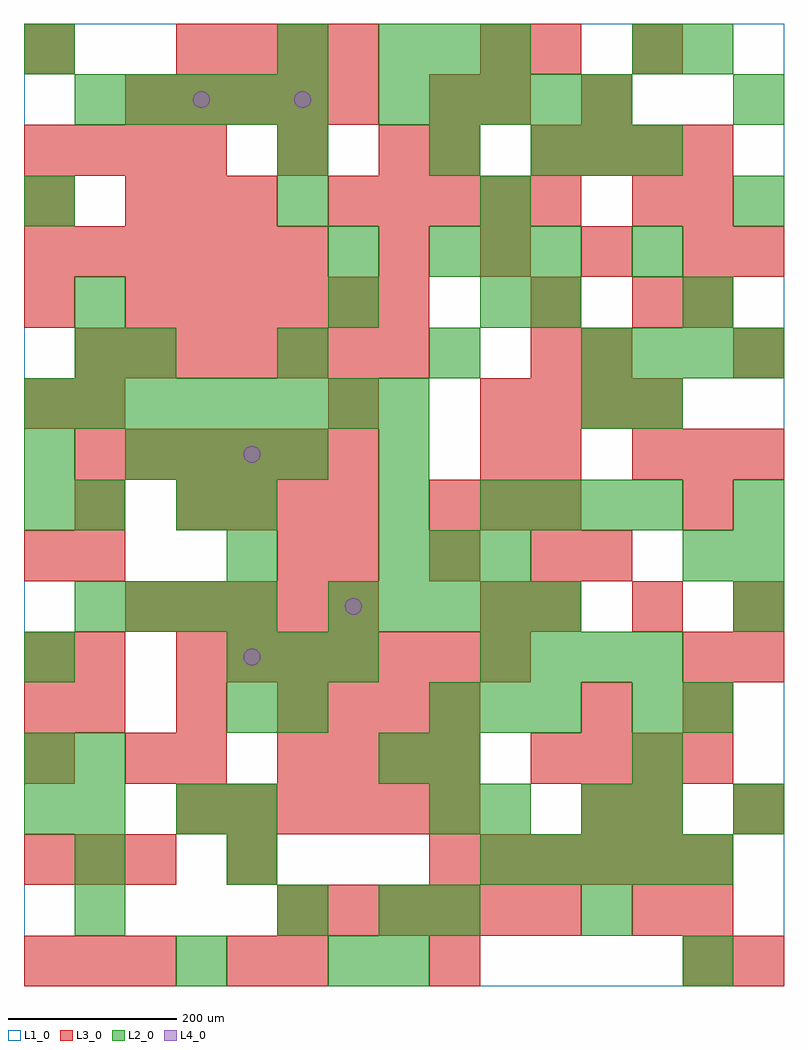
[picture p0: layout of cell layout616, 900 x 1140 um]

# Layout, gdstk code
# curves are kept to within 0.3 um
import gdstk
lib = gdstk.Library(unit=1e-6, precision=1e-09)
def R(c, l, rs):  # rectangles x0, y0, x1, y1
    for r in rs: c.add(gdstk.rectangle(r[:2], r[2:], *l))
def A(c, l, x, y, w, h, nx, ny, dx, dy):  # array of equal rectangles
    R(c, l, [(x+i*dx, y+j*dy, x+i*dx+w, y+j*dy+h) for i in range(nx) for j in range(ny)])
def P(c, l, *ps):  # polygons
    for p in ps: c.add(gdstk.Polygon(p, *l))
L1_0 = (1, 0)
L2_0 = (2, 0)
L3_0 = (3, 0)
L4_0 = (4, 0)

layout616 = lib.new_cell('layout616')
R(layout616, L1_0, [(0,0,900,1140)])
A(layout616, L2_0, 60, 60, 60, 60, 1, 4, 0, 60)
A(layout616, L2_0, 540, 120, 60, 60, 5, 1, 60, 0)
A(layout616, L2_0, 720, 180, 60, 60, 1, 3, 0, 60)
A(layout616, L2_0, 480, 300, 60, 60, 3, 2, 60, 540)
A(layout616, L2_0, 240, 360, 60, 60, 3, 1, 60, 0)
A(layout616, L2_0, 540, 360, 60, 60, 4, 2, 60, 180)
A(layout616, L2_0, 60, 420, 60, 60, 4, 1, 60, 0)
A(layout616, L2_0, 360, 420, 60, 60, 5, 1, 60, 0)
A(layout616, L2_0, 840, 420, 60, 60, 1, 3, 0, 60)
A(layout616, L2_0, 420, 480, 60, 60, 3, 2, 60, 600)
A(layout616, L2_0, 780, 480, 60, 60, 1, 3, 0, 300)
A(layout616, L2_0, 120, 600, 60, 60, 4, 1, 60, 0)
A(layout616, L2_0, 0, 660, 60, 60, 8, 1, 60, 0)
A(layout616, L2_0, 120, 720, 60, 60, 4, 1, 180, 0)
A(layout616, L2_0, 720, 720, 60, 60, 3, 1, 60, 0)
A(layout616, L2_0, 600, 960, 60, 60, 3, 1, 60, 0)
A(layout616, L2_0, 60, 1020, 60, 60, 5, 1, 60, 0)
A(layout616, L2_0, 420, 1020, 60, 60, 5, 1, 60, 0)
R(layout616, L2_0, [(180,0,240,60), (360,0,420,60), (420,0,480,60), (780,0,840,60), (300,60,360,120), (420,60,480,120), (480,60,540,120), (660,60,720,120), (240,120,300,180), (0,180,60,240), (180,180,240,240), (240,180,300,240), (480,180,540,240), (540,180,600,240), (660,180,720,240), (840,180,900,240), (0,240,60,300), (420,240,480,300), (480,240,540,300), (240,300,300,360), (300,300,360,360), (780,300,840,360), (0,360,60,420), (240,480,300,540), (0,540,60,600), (60,540,120,600), (180,540,240,600), (240,540,300,600), (420,540,480,600), (0,600,60,660), (420,600,480,660), (660,660,720,720), (720,660,780,720), (60,720,120,780), (60,780,120,840), (360,780,420,840), (540,780,600,840), (600,780,660,840), (360,840,420,900), (720,840,780,900), (0,900,60,960), (300,900,360,960), (540,900,600,960), (840,900,900,960), (300,960,360,1020), (480,960,540,1020), (840,1020,900,1080), (0,1080,60,1140), (300,1080,360,1140), (720,1080,780,1140)])
A(layout616, L3_0, 0, 0, 60, 60, 3, 2, 60, 120)
A(layout616, L3_0, 300, 0, 60, 60, 1, 3, 0, 480)
A(layout616, L3_0, 840, 0, 60, 60, 1, 3, 0, 180)
A(layout616, L3_0, 300, 60, 60, 60, 6, 1, 60, 0)
A(layout616, L3_0, 480, 120, 60, 60, 6, 1, 60, 0)
A(layout616, L3_0, 180, 180, 60, 60, 6, 1, 60, 0)
A(layout616, L3_0, 0, 240, 60, 60, 1, 3, 0, 60)
A(layout616, L3_0, 300, 240, 60, 60, 4, 1, 60, 0)
A(layout616, L3_0, 600, 240, 60, 60, 4, 2, 60, 720)
A(layout616, L3_0, 60, 300, 60, 60, 3, 1, 120, 0)
A(layout616, L3_0, 360, 300, 60, 60, 3, 1, 60, 0)
A(layout616, L3_0, 180, 360, 60, 60, 7, 1, 60, 0)
A(layout616, L3_0, 120, 420, 60, 60, 5, 2, 60, 600)
A(layout616, L3_0, 600, 420, 60, 60, 3, 1, 120, 0)
A(layout616, L3_0, 360, 480, 60, 60, 3, 1, 120, 0)
A(layout616, L3_0, 180, 540, 60, 60, 4, 2, 60, 540)
A(layout616, L3_0, 480, 540, 60, 60, 3, 1, 60, 0)
A(layout616, L3_0, 60, 600, 60, 60, 6, 1, 60, 0)
A(layout616, L3_0, 720, 600, 60, 60, 3, 1, 60, 0)
A(layout616, L3_0, 0, 660, 60, 60, 1, 3, 0, 120)
A(layout616, L3_0, 540, 660, 60, 60, 4, 1, 60, 0)
A(layout616, L3_0, 60, 720, 60, 60, 7, 1, 60, 0)
A(layout616, L3_0, 120, 780, 60, 60, 6, 1, 60, 0)
A(layout616, L3_0, 0, 840, 60, 60, 6, 1, 60, 0)
A(layout616, L3_0, 420, 840, 60, 60, 4, 1, 120, 0)
A(layout616, L3_0, 120, 900, 60, 60, 3, 1, 60, 0)
A(layout616, L3_0, 360, 900, 60, 60, 5, 1, 60, 0)
A(layout616, L3_0, 0, 960, 60, 60, 4, 1, 60, 0)
R(layout616, L3_0, [(240,0,300,60), (480,0,540,60), (780,0,840,60), (720,60,780,120), (780,60,840,120), (240,120,300,180), (660,180,720,240), (720,180,780,240), (120,240,180,300), (180,240,240,300), (660,300,720,360), (780,300,840,360), (60,360,120,420), (780,360,840,420), (540,420,600,480), (0,480,60,540), (60,480,120,540), (660,480,720,540), (60,540,120,600), (780,540,840,600), (540,600,600,660), (600,600,660,660), (60,660,120,720), (360,660,420,720), (600,720,660,780), (660,720,720,780), (840,720,900,780), (600,780,660,840), (720,780,780,840), (780,780,840,840), (840,840,900,900), (720,900,780,960), (780,900,840,960), (420,960,480,1020), (480,960,540,1020), (480,1020,540,1080), (540,1020,600,1080), (660,1020,720,1080), (0,1080,60,1140), (540,1080,600,1140), (600,1080,660,1140), (720,1080,780,1140)])
P(layout616, L4_0, [(220,1050),(219.239,1053.827),(217.071,1057.071),(213.827,1059.239),(210,1060),(206.173,1059.239),(202.929,1057.071),(200.761,1053.827),(200,1050),(200.761,1046.173),(202.929,1042.929),(206.173,1040.761),(210,1040),(213.827,1040.761),(217.071,1042.929),(219.239,1046.173)],
  [(280,390),(279.239,393.827),(277.071,397.071),(273.827,399.239),(270,400),(266.173,399.239),(262.929,397.071),(260.761,393.827),(260,390),(260.761,386.173),(262.929,382.929),(266.173,380.761),(270,380),(273.827,380.761),(277.071,382.929),(279.239,386.173)],
  [(280,630),(279.239,633.827),(277.071,637.071),(273.827,639.239),(270,640),(266.173,639.239),(262.929,637.071),(260.761,633.827),(260,630),(260.761,626.173),(262.929,622.929),(266.173,620.761),(270,620),(273.827,620.761),(277.071,622.929),(279.239,626.173)],
  [(340,1050),(339.239,1053.827),(337.071,1057.071),(333.827,1059.239),(330,1060),(326.173,1059.239),(322.929,1057.071),(320.761,1053.827),(320,1050),(320.761,1046.173),(322.929,1042.929),(326.173,1040.761),(330,1040),(333.827,1040.761),(337.071,1042.929),(339.239,1046.173)],
  [(400,450),(399.239,453.827),(397.071,457.071),(393.827,459.239),(390,460),(386.173,459.239),(382.929,457.071),(380.761,453.827),(380,450),(380.761,446.173),(382.929,442.929),(386.173,440.761),(390,440),(393.827,440.761),(397.071,442.929),(399.239,446.173)])

lib.write_gds('layout616.gds')
